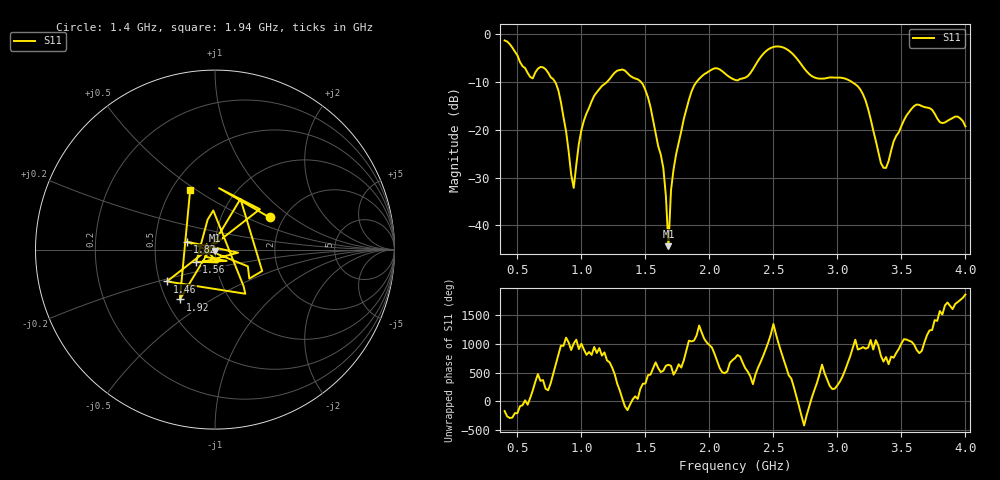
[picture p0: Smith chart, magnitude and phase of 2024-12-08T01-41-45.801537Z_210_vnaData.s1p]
!Created with skrf (http://scikit-rf.org).
# Hz S RI R 50.0
!freq ReS11 ImS11
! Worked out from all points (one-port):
!   181 points, 400 MHz to 4 GHz, reference 50 ohm
!   lowest |S11| = -44.3 dB at 1.68 GHz (marker M1), VSWR 1.01, Z = 50 - j0.606 ohm
!   |S11| at or under -10 dB: 793.7 MHz to 1.201 GHz (406.8 MHz wide, 40.8 % of centre); 1.464 GHz to 1.9 GHz (435.8 MHz wide, 25.9 % of centre); 3.112 GHz to end of sweep
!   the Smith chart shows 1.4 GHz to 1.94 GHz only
!   S11 on the Smith chart (normalised r, x): 1.4 GHz: 1.69, +0.69; 1.46 GHz: 0.55, -0.22; 1.56 GHz: 0.80, -0.11; 1.82 GHz: 0.73, +0.07; 1.92 GHz: 0.59, -0.37; 1.94 GHz: 0.62, +0.47
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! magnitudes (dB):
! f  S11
! 400 MHz  -1.3
! 600 MHz  -9.0
! 720 MHz  -7.3
! 800 MHz  -10.3
! 860 MHz  -17.4
! 940 MHz  -32.2
! 980 MHz  -23.0
! 1.04 GHz  -16.6
! 1.3 GHz  -7.5
! 1.4 GHz  -9.0
! 1.46 GHz  -9.9
! 1.56 GHz  -18.0
! 1.64 GHz  -28.0
! 1.68 GHz  -44.3
! 1.7 GHz  -32.7
! 1.76 GHz  -22.7
! 1.82 GHz  -15.8
! 1.92 GHz  -9.4
! 1.94 GHz  -8.8
! 2.2 GHz  -9.6
! 2.48 GHz  -2.9
! 2.66 GHz  -4.4
! 2.82 GHz  -9.1
! 3.1 GHz  -9.8
! 3.22 GHz  -13.9
! 3.36 GHz  -28.0
! 3.56 GHz  -16.3
! 4 GHz  -19.3
